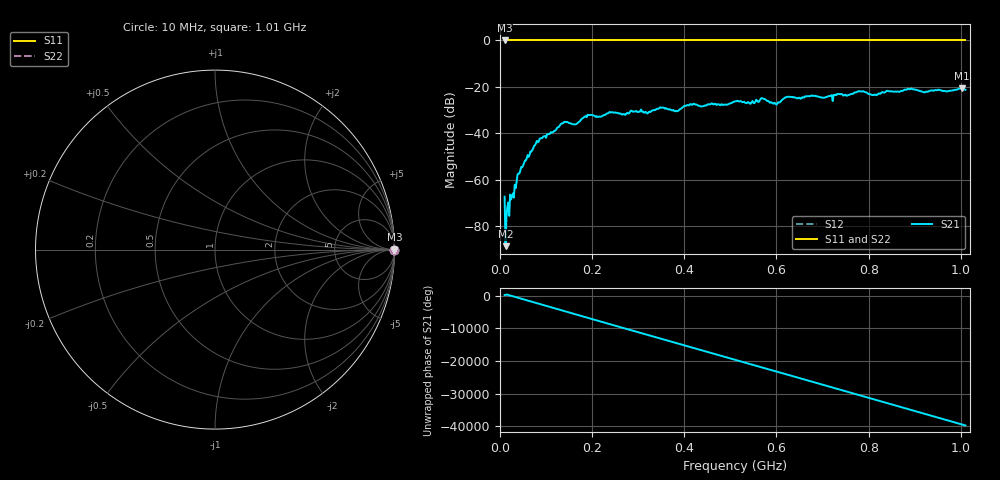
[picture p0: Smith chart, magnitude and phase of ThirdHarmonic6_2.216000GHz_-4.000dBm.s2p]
! 8/17/2025 2:23:40 AM
! C:\ANRITSUVNA\TEMP\TEMP.S2P
! CHANNEL.1
! TR.MEASUREMENT
! RAW.DATA
! RF.CORRECTION.OFF
! AVERAGING.OFF
! IF.BANDWIDTH: 5KHZ
! SWEEPTYPE:  FREQ.SWEEP(Linear)
! Reference Plane Port Info
! PORT:  PORT1  PORT2
! DISTANCE:  0  m  0  m
! TIME:  0  s  0  s
! PHASE.OFFSET:  0  deg.  0  deg.
! LOSS:  0  dB  0  dB
! REF.LOSS:  0  dB  0  dB
! REF.FREQ:  0  Hz  0  Hz
! Power Info
! POWER:  -20  dBm  -20  dBm
! EFF.POWER:  -20  dBm  -20  dBm
! SOURCE.ATTEN:  0  dB  0  dB
! TEST.ATTEN:  0  dB  0  dB
# GHZ S RI R 50.0
! FREQ.GHZ  S11RE  S11IM  S21RE  S21IM  S12RE  S12IM  S22RE  S22IM
!; PortSelection: Port_12
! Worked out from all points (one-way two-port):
!   501 points, 10 MHz to 1.01 GHz, reference 50 ohm
!   highest |S21| = -20.55 dB at 1.002 GHz (marker M1); lowest = -88.7 dB at 12 MHz (marker M2)
!   lowest |S11| = 0.0 dB at 10 MHz (marker M3)
!   |S11| at or under -10 dB: nowhere
!   |S22| runs from 0.0 to 0.0 dB; largest |S21 - S12| = 1.1
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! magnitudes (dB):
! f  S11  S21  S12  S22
! 10 MHz  0.0  -67.3  0.0  0.0
! 12 MHz  0.0  -88.7  0.0  0.0
! 16 MHz  0.0  -71.8  0.0  0.0
! 20 MHz  0.0  -75.6  0.0  0.0
! 42 MHz  0.0  -57.3  0.0  0.0
! 78 MHz  0.0  -44.4  0.0  0.0
! 136 MHz  0.0  -35.8  0.0  0.0
! 162 MHz  0.0  -36.1  0.0  0.0
! 178 MHz  0.0  -33.7  0.0  0.0
! 344 MHz  0.0  -29.4  0.0  0.0
! 384 MHz  0.0  -30.5  0.0  0.0
! 416 MHz  0.0  -27.7  0.0  0.0
! 510 MHz  0.0  -26.3  0.0  0.0
! 570 MHz  0.0  -25.0  0.0  0.0
! 598 MHz  0.0  -27.3  0.0  0.0
! 624 MHz  0.0  -24.3  0.0  0.0
! 678 MHz  0.0  -23.8  0.0  0.0
! 782 MHz  0.0  -22.0  0.0  0.0
! 814 MHz  0.0  -23.4  0.0  0.0
! 844 MHz  0.0  -21.9  0.0  0.0
! 1.002 GHz  0.0  -20.5  0.0  0.0
! 1.01 GHz  0.0  -21.2  0.0  0.0
